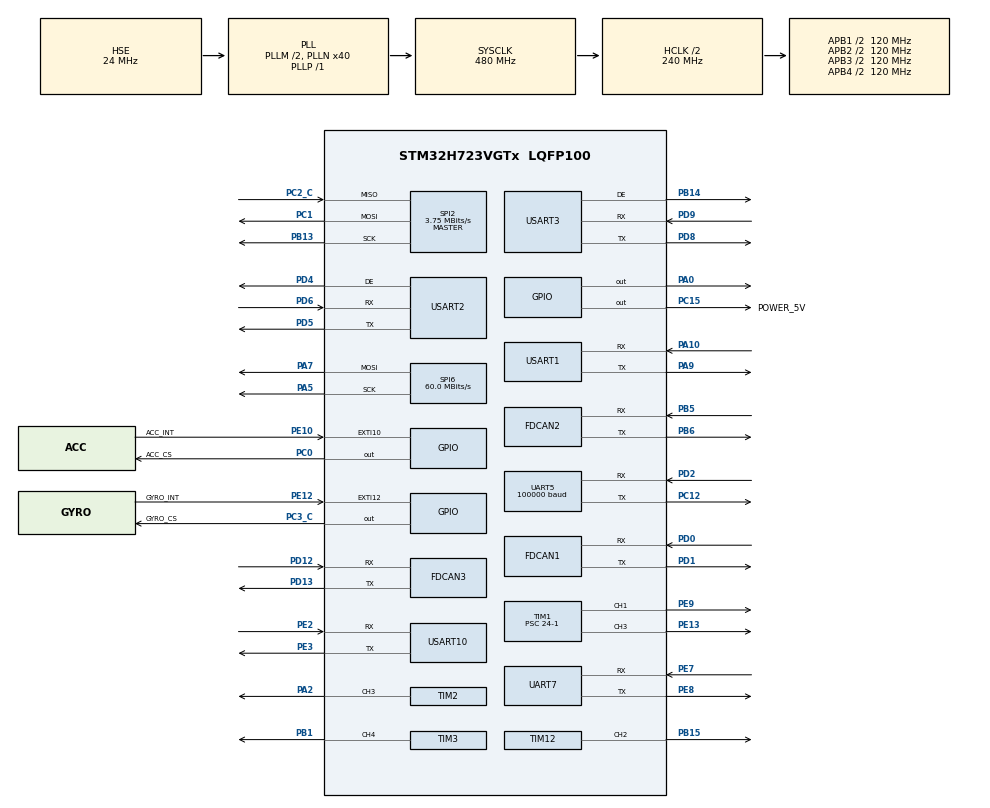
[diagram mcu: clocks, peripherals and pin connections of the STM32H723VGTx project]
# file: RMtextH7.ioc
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Dma.Request0=SPI2_RX
Dma.Request1=SPI2_TX
Dma.Request10=USART10_TX
Dma.Request11=UART5_TX
Dma.Request12=USART3_RX
Dma.Request13=USART3_TX
Dma.Request2=UART5_RX
Dma.Request3=UART7_RX
Dma.Request4=UART7_TX
Dma.Request5=USART2_RX
Dma.Request6=USART2_TX
Dma.Request7=USART1_RX
Dma.Request8=USART1_TX
Dma.Request9=USART10_RX
Dma.SPI2_RX.0.Direction=DMA_PERIPH_TO_MEMORY
Dma.SPI2_RX.0.EventEnable=DISABLE
Dma.SPI2_RX.0.FIFOMode=DMA_FIFOMODE_DISABLE
Dma.SPI2_RX.0.Instance=DMA1_Stream0
Dma.SPI2_RX.0.MemDataAlignment=DMA_MDATAALIGN_BYTE
Dma.SPI2_RX.0.MemInc=DMA_MINC_ENABLE
Dma.SPI2_RX.0.Mode=DMA_NORMAL
Dma.SPI2_RX.0.PeriphDataAlignment=DMA_PDATAALIGN_BYTE
Dma.SPI2_RX.0.PeriphInc=DMA_PINC_DISABLE
Dma.SPI2_RX.0.Polarity=HAL_DMAMUX_REQ_GEN_RISING
Dma.SPI2_RX.0.Priority=DMA_PRIORITY_VERY_HIGH
Dma.SPI2_RX.0.RequestNumber=1
Dma.SPI2_RX.0.SignalID=NONE
Dma.SPI2_RX.0.SyncEnable=DISABLE
Dma.SPI2_RX.0.SyncPolarity=HAL_DMAMUX_SYNC_NO_EVENT
Dma.SPI2_RX.0.SyncRequestNumber=1
Dma.SPI2_RX.0.SyncSignalID=NONE
Dma.SPI2_TX.1.Direction=DMA_MEMORY_TO_PERIPH
Dma.SPI2_TX.1.EventEnable=DISABLE
Dma.SPI2_TX.1.FIFOMode=DMA_FIFOMODE_DISABLE
Dma.SPI2_TX.1.Instance=DMA1_Stream2
Dma.SPI2_TX.1.MemDataAlignment=DMA_MDATAALIGN_BYTE
Dma.SPI2_TX.1.MemInc=DMA_MINC_ENABLE
Dma.SPI2_TX.1.Mode=DMA_NORMAL
Dma.SPI2_TX.1.PeriphDataAlignment=DMA_PDATAALIGN_BYTE
Dma.SPI2_TX.1.PeriphInc=DMA_PINC_DISABLE
Dma.SPI2_TX.1.Polarity=HAL_DMAMUX_REQ_GEN_RISING
Dma.SPI2_TX.1.Priority=DMA_PRIORITY_HIGH
Dma.SPI2_TX.1.RequestNumber=1
Dma.SPI2_TX.1.SignalID=NONE
Dma.SPI2_TX.1.SyncEnable=DISABLE
Dma.SPI2_TX.1.SyncPolarity=HAL_DMAMUX_SYNC_NO_EVENT
Dma.SPI2_TX.1.SyncRequestNumber=1
Dma.SPI2_TX.1.SyncSignalID=NONE
Dma.UART5_RX.2.Direction=DMA_PERIPH_TO_MEMORY
Dma.UART5_RX.2.EventEnable=DISABLE
Dma.UART5_RX.2.FIFOMode=DMA_FIFOMODE_DISABLE
Dma.UART5_RX.2.Instance=DMA1_Stream1
Dma.UART5_RX.2.MemDataAlignment=DMA_MDATAALIGN_HALFWORD
Dma.UART5_RX.2.MemInc=DMA_MINC_ENABLE
Dma.UART5_RX.2.Mode=DMA_NORMAL
Dma.UART5_RX.2.PeriphDataAlignment=DMA_PDATAALIGN_HALFWORD
Dma.UART5_RX.2.PeriphInc=DMA_PINC_DISABLE
Dma.UART5_RX.2.Polarity=HAL_DMAMUX_REQ_GEN_RISING
Dma.UART5_RX.2.Priority=DMA_PRIORITY_LOW
Dma.UART5_RX.2.RequestNumber=1
Dma.UART5_RX.2.SignalID=NONE
Dma.UART5_RX.2.SyncEnable=DISABLE
Dma.UART5_RX.2.SyncPolarity=HAL_DMAMUX_SYNC_NO_EVENT
Dma.UART5_RX.2.SyncRequestNumber=1
Dma.UART5_RX.2.SyncSignalID=NONE
Dma.UART5_TX.11.Direction=DMA_MEMORY_TO_PERIPH
Dma.UART5_TX.11.EventEnable=DISABLE
Dma.UART5_TX.11.FIFOMode=DMA_FIFOMODE_DISABLE
Dma.UART5_TX.11.Instance=DMA2_Stream3
Dma.UART5_TX.11.MemDataAlignment=DMA_MDATAALIGN_BYTE
Dma.UART5_TX.11.MemInc=DMA_MINC_ENABLE
Dma.UART5_TX.11.Mode=DMA_NORMAL
Dma.UART5_TX.11.PeriphDataAlignment=DMA_PDATAALIGN_BYTE
Dma.UART5_TX.11.PeriphInc=DMA_PINC_DISABLE
Dma.UART5_TX.11.Polarity=HAL_DMAMUX_REQ_GEN_RISING
Dma.UART5_TX.11.Priority=DMA_PRIORITY_LOW
Dma.UART5_TX.11.RequestNumber=1
Dma.UART5_TX.11.SignalID=NONE
Dma.UART5_TX.11.SyncEnable=DISABLE
Dma.UART5_TX.11.SyncPolarity=HAL_DMAMUX_SYNC_NO_EVENT
Dma.UART5_TX.11.SyncRequestNumber=1
Dma.UART5_TX.11.SyncSignalID=NONE
Dma.UART7_RX.3.Direction=DMA_PERIPH_TO_MEMORY
Dma.UART7_RX.3.EventEnable=DISABLE
Dma.UART7_RX.3.FIFOMode=DMA_FIFOMODE_DISABLE
Dma.UART7_RX.3.Instance=DMA1_Stream3
Dma.UART7_RX.3.MemDataAlignment=DMA_MDATAALIGN_BYTE
Dma.UART7_RX.3.MemInc=DMA_MINC_ENABLE
Dma.UART7_RX.3.Mode=DMA_NORMAL
Dma.UART7_RX.3.PeriphDataAlignment=DMA_PDATAALIGN_BYTE
Dma.UART7_RX.3.PeriphInc=DMA_PINC_DISABLE
Dma.UART7_RX.3.Polarity=HAL_DMAMUX_REQ_GEN_RISING
Dma.UART7_RX.3.Priority=DMA_PRIORITY_LOW
Dma.UART7_RX.3.RequestNumber=1
Dma.UART7_RX.3.SignalID=NONE
Dma.UART7_RX.3.SyncEnable=DISABLE
Dma.UART7_RX.3.SyncPolarity=HAL_DMAMUX_SYNC_NO_EVENT
Dma.UART7_RX.3.SyncRequestNumber=1
Dma.UART7_RX.3.SyncSignalID=NONE
Dma.UART7_TX.4.Direction=DMA_MEMORY_TO_PERIPH
Dma.UART7_TX.4.EventEnable=DISABLE
Dma.UART7_TX.4.FIFOMode=DMA_FIFOMODE_DISABLE
Dma.UART7_TX.4.Instance=DMA1_Stream4
Dma.UART7_TX.4.MemDataAlignment=DMA_MDATAALIGN_BYTE
Dma.UART7_TX.4.MemInc=DMA_MINC_ENABLE
Dma.UART7_TX.4.Mode=DMA_NORMAL
Dma.UART7_TX.4.PeriphDataAlignment=DMA_PDATAALIGN_BYTE
Dma.UART7_TX.4.PeriphInc=DMA_PINC_DISABLE
Dma.UART7_TX.4.Polarity=HAL_DMAMUX_REQ_GEN_RISING
Dma.UART7_TX.4.Priority=DMA_PRIORITY_LOW
Dma.UART7_TX.4.RequestNumber=1
Dma.UART7_TX.4.SignalID=NONE
Dma.UART7_TX.4.SyncEnable=DISABLE
Dma.UART7_TX.4.SyncPolarity=HAL_DMAMUX_SYNC_NO_EVENT
Dma.UART7_TX.4.SyncRequestNumber=1
Dma.UART7_TX.4.SyncSignalID=NONE
Dma.USART10_RX.9.Direction=DMA_PERIPH_TO_MEMORY
Dma.USART10_RX.9.EventEnable=DISABLE
Dma.USART10_RX.9.FIFOMode=DMA_FIFOMODE_DISABLE
Dma.USART10_RX.9.Instance=DMA2_Stream1
Dma.USART10_RX.9.MemDataAlignment=DMA_MDATAALIGN_BYTE
Dma.USART10_RX.9.MemInc=DMA_MINC_ENABLE
Dma.USART10_RX.9.Mode=DMA_NORMAL
Dma.USART10_RX.9.PeriphDataAlignment=DMA_PDATAALIGN_BYTE
Dma.USART10_RX.9.PeriphInc=DMA_PINC_DISABLE
Dma.USART10_RX.9.Polarity=HAL_DMAMUX_REQ_GEN_RISING
Dma.USART10_RX.9.Priority=DMA_PRIORITY_LOW
Dma.USART10_RX.9.RequestNumber=1
Dma.USART10_RX.9.SignalID=NONE
Dma.USART10_RX.9.SyncEnable=DISABLE
Dma.USART10_RX.9.SyncPolarity=HAL_DMAMUX_SYNC_NO_EVENT
Dma.USART10_RX.9.SyncRequestNumber=1
Dma.USART10_RX.9.SyncSignalID=NONE
Dma.USART10_TX.10.Direction=DMA_MEMORY_TO_PERIPH
Dma.USART10_TX.10.EventEnable=DISABLE
Dma.USART10_TX.10.FIFOMode=DMA_FIFOMODE_DISABLE
Dma.USART10_TX.10.Instance=DMA2_Stream2
Dma.USART10_TX.10.MemDataAlignment=DMA_MDATAALIGN_BYTE
Dma.USART10_TX.10.MemInc=DMA_MINC_ENABLE
Dma.USART10_TX.10.Mode=DMA_NORMAL
Dma.USART10_TX.10.PeriphDataAlignment=DMA_PDATAALIGN_BYTE
Dma.USART10_TX.10.PeriphInc=DMA_PINC_DISABLE
Dma.USART10_TX.10.Polarity=HAL_DMAMUX_REQ_GEN_RISING
Dma.USART10_TX.10.Priority=DMA_PRIORITY_LOW
Dma.USART10_TX.10.RequestNumber=1
Dma.USART10_TX.10.SignalID=NONE
Dma.USART10_TX.10.SyncEnable=DISABLE
Dma.USART10_TX.10.SyncPolarity=HAL_DMAMUX_SYNC_NO_EVENT
Dma.USART10_TX.10.SyncRequestNumber=1
Dma.USART10_TX.10.SyncSignalID=NONE
Dma.USART1_RX.7.Direction=DMA_PERIPH_TO_MEMORY
Dma.USART1_RX.7.EventEnable=DISABLE
Dma.USART1_RX.7.FIFOMode=DMA_FIFOMODE_DISABLE
Dma.USART1_RX.7.Instance=DMA1_Stream7
Dma.USART1_RX.7.MemDataAlignment=DMA_MDATAALIGN_BYTE
Dma.USART1_RX.7.MemInc=DMA_MINC_ENABLE
Dma.USART1_RX.7.Mode=DMA_NORMAL
Dma.USART1_RX.7.PeriphDataAlignment=DMA_PDATAALIGN_BYTE
Dma.USART1_RX.7.PeriphInc=DMA_PINC_DISABLE
Dma.USART1_RX.7.Polarity=HAL_DMAMUX_REQ_GEN_RISING
Dma.USART1_RX.7.Priority=DMA_PRIORITY_LOW
Dma.USART1_RX.7.RequestNumber=1
Dma.USART1_RX.7.SignalID=NONE
Dma.USART1_RX.7.SyncEnable=DISABLE
Dma.USART1_RX.7.SyncPolarity=HAL_DMAMUX_SYNC_NO_EVENT
Dma.USART1_RX.7.SyncRequestNumber=1
Dma.USART1_RX.7.SyncSignalID=NONE
Dma.USART1_TX.8.Direction=DMA_MEMORY_TO_PERIPH
Dma.USART1_TX.8.EventEnable=DISABLE
Dma.USART1_TX.8.FIFOMode=DMA_FIFOMODE_DISABLE
Dma.USART1_TX.8.Instance=DMA2_Stream0
Dma.USART1_TX.8.MemDataAlignment=DMA_MDATAALIGN_BYTE
Dma.USART1_TX.8.MemInc=DMA_MINC_ENABLE
Dma.USART1_TX.8.Mode=DMA_NORMAL
Dma.USART1_TX.8.PeriphDataAlignment=DMA_PDATAALIGN_BYTE
Dma.USART1_TX.8.PeriphInc=DMA_PINC_DISABLE
Dma.USART1_TX.8.Polarity=HAL_DMAMUX_REQ_GEN_RISING
Dma.USART1_TX.8.Priority=DMA_PRIORITY_LOW
Dma.USART1_TX.8.RequestNumber=1
Dma.USART1_TX.8.SignalID=NONE
Dma.USART1_TX.8.SyncEnable=DISABLE
Dma.USART1_TX.8.SyncPolarity=HAL_DMAMUX_SYNC_NO_EVENT
Dma.USART1_TX.8.SyncRequestNumber=1
Dma.USART1_TX.8.SyncSignalID=NONE
Dma.USART2_RX.5.Direction=DMA_PERIPH_TO_MEMORY
Dma.USART2_RX.5.EventEnable=DISABLE
Dma.USART2_RX.5.FIFOMode=DMA_FIFOMODE_DISABLE
Dma.USART2_RX.5.Instance=DMA1_Stream5
Dma.USART2_RX.5.MemDataAlignment=DMA_MDATAALIGN_BYTE
Dma.USART2_RX.5.MemInc=DMA_MINC_ENABLE
Dma.USART2_RX.5.Mode=DMA_NORMAL
Dma.USART2_RX.5.PeriphDataAlignment=DMA_PDATAALIGN_BYTE
Dma.USART2_RX.5.PeriphInc=DMA_PINC_DISABLE
Dma.USART2_RX.5.Polarity=HAL_DMAMUX_REQ_GEN_RISING
Dma.USART2_RX.5.Priority=DMA_PRIORITY_LOW
Dma.USART2_RX.5.RequestNumber=1
Dma.USART2_RX.5.SignalID=NONE
Dma.USART2_RX.5.SyncEnable=DISABLE
Dma.USART2_RX.5.SyncPolarity=HAL_DMAMUX_SYNC_NO_EVENT
Dma.USART2_RX.5.SyncRequestNumber=1
Dma.USART2_RX.5.SyncSignalID=NONE
Dma.USART2_TX.6.Direction=DMA_MEMORY_TO_PERIPH
Dma.USART2_TX.6.EventEnable=DISABLE
Dma.USART2_TX.6.FIFOMode=DMA_FIFOMODE_DISABLE
Dma.USART2_TX.6.Instance=DMA1_Stream6
Dma.USART2_TX.6.MemDataAlignment=DMA_MDATAALIGN_BYTE
Dma.USART2_TX.6.MemInc=DMA_MINC_ENABLE
Dma.USART2_TX.6.Mode=DMA_NORMAL
Dma.USART2_TX.6.PeriphDataAlignment=DMA_PDATAALIGN_BYTE
Dma.USART2_TX.6.PeriphInc=DMA_PINC_DISABLE
Dma.USART2_TX.6.Polarity=HAL_DMAMUX_REQ_GEN_RISING
Dma.USART2_TX.6.Priority=DMA_PRIORITY_LOW
Dma.USART2_TX.6.RequestNumber=1
Dma.USART2_TX.6.SignalID=NONE
Dma.USART2_TX.6.SyncEnable=DISABLE
Dma.USART2_TX.6.SyncPolarity=HAL_DMAMUX_SYNC_NO_EVENT
Dma.USART2_TX.6.SyncRequestNumber=1
Dma.USART2_TX.6.SyncSignalID=NONE
Dma.USART3_RX.12.Direction=DMA_PERIPH_TO_MEMORY
Dma.USART3_RX.12.EventEnable=DISABLE
Dma.USART3_RX.12.FIFOMode=DMA_FIFOMODE_DISABLE
Dma.USART3_RX.12.Instance=DMA2_Stream4
Dma.USART3_RX.12.MemDataAlignment=DMA_MDATAALIGN_BYTE
Dma.USART3_RX.12.MemInc=DMA_MINC_ENABLE
Dma.USART3_RX.12.Mode=DMA_NORMAL
Dma.USART3_RX.12.PeriphDataAlignment=DMA_PDATAALIGN_BYTE
Dma.USART3_RX.12.PeriphInc=DMA_PINC_DISABLE
Dma.USART3_RX.12.Polarity=HAL_DMAMUX_REQ_GEN_RISING
Dma.USART3_RX.12.Priority=DMA_PRIORITY_LOW
Dma.USART3_RX.12.RequestNumber=1
Dma.USART3_RX.12.SignalID=NONE
Dma.USART3_RX.12.SyncEnable=DISABLE
Dma.USART3_RX.12.SyncPolarity=HAL_DMAMUX_SYNC_NO_EVENT
Dma.USART3_RX.12.SyncRequestNumber=1
Dma.USART3_RX.12.SyncSignalID=NONE
Dma.USART3_TX.13.Direction=DMA_MEMORY_TO_PERIPH
Dma.USART3_TX.13.EventEnable=DISABLE
Dma.USART3_TX.13.FIFOMode=DMA_FIFOMODE_DISABLE
Dma.USART3_TX.13.Instance=DMA2_Stream5
Dma.USART3_TX.13.MemDataAlignment=DMA_MDATAALIGN_BYTE
Dma.USART3_TX.13.MemInc=DMA_MINC_ENABLE
Dma.USART3_TX.13.Mode=DMA_NORMAL
Dma.USART3_TX.13.PeriphDataAlignment=DMA_PDATAALIGN_BYTE
Dma.USART3_TX.13.PeriphInc=DMA_PINC_DISABLE
Dma.USART3_TX.13.Polarity=HAL_DMAMUX_REQ_GEN_RISING
Dma.USART3_TX.13.Priority=DMA_PRIORITY_LOW
Dma.USART3_TX.13.RequestNumber=1
Dma.USART3_TX.13.SignalID=NONE
Dma.USART3_TX.13.SyncEnable=DISABLE
Dma.USART3_TX.13.SyncPolarity=HAL_DMAMUX_SYNC_NO_EVENT
Dma.USART3_TX.13.SyncRequestNumber=1
Dma.USART3_TX.13.SyncSignalID=NONE
FDCAN1.CalculateBaudRateNominal=1000000
FDCAN1.CalculateTimeBitNominal=1000
FDCAN1.CalculateTimeQuantumNominal=200.0
FDCAN1.NominalPrescaler=24
FDCAN1.RxFifo0ElmtsNbr=32
FDCAN1.StdFiltersNbr=1
FDCAN1.TxFifoQueueElmtsNbr=32
FDCAN2.CalculateBaudRateNominal=1000000
FDCAN2.CalculateTimeBitNominal=1000
FDCAN2.CalculateTimeQuantumNominal=200.0
FDCAN2.MessageRAMOffset=0x406
FDCAN2.NominalPrescaler=24
FDCAN2.RxFifo0ElmtsNbr=32
FDCAN2.StdFiltersNbr=1
FDCAN2.TxFifoQueueElmtsNbr=32
FDCAN3.CalculateBaudRateNominal=1000000
FDCAN3.CalculateTimeBitNominal=1000
FDCAN3.CalculateTimeQuantumNominal=200.0
FDCAN3.MessageRAMOffset=0x812
FDCAN3.NominalPrescaler=24
FDCAN3.RxFifo0ElmtsNbr=32
FDCAN3.StdFiltersNbr=1
FDCAN3.TxFifoQueueElmtsNbr=32
FREERTOS.BinarySemaphores01=imuBinarySem01,Static,imuBinarySemControlBlock;controlBinaryIMU,Static,controlBinaryIMUControlBlock
FREERTOS.Tasks01=defaultTask,24,128,StartDefaultTask,Default,NULL,Dynamic,NULL,NULL;IMU_TempCtrl,24,128,IMU_TempCtrlTask,As weak,NULL,Static,IMU_TempCtrlBuffer,IMU_TempCtrlControlBlock;Remoter,8,256,Remoter_Task,As weak,NULL,Static,RemoterBuffer,RemoterControlBlock
Mcu.Family=STM32H7
Mcu.Name=STM32H723VGTx
Mcu.Package=LQFP100
NVIC.DMA1_Stream0_IRQn=true\:5\:0\:false\:false\:true\:true\:false\:true\:true
NVIC.DMA1_Stream1_IRQn=true\:5\:0\:false\:false\:true\:true\:false\:true\:true
NVIC.DMA1_Stream2_IRQn=true\:5\:0\:false\:false\:true\:true\:false\:true\:true
NVIC.DMA1_Stream3_IRQn=true\:5\:0\:false\:false\:true\:true\:false\:true\:true
NVIC.DMA1_Stream4_IRQn=true\:5\:0\:false\:false\:true\:true\:false\:true\:true
NVIC.DMA1_Stream5_IRQn=true\:5\:0\:false\:false\:true\:true\:false\:true\:true
NVIC.DMA1_Stream6_IRQn=true\:5\:0\:false\:false\:true\:true\:false\:true\:true
NVIC.DMA1_Stream7_IRQn=true\:5\:0\:false\:false\:true\:true\:false\:true\:true
NVIC.DMA2_Stream0_IRQn=true\:5\:0\:false\:false\:true\:true\:false\:true\:true
NVIC.DMA2_Stream1_IRQn=true\:5\:0\:false\:false\:true\:true\:false\:true\:true
NVIC.DMA2_Stream2_IRQn=true\:5\:0\:false\:false\:true\:true\:false\:true\:true
NVIC.DMA2_Stream3_IRQn=true\:5\:0\:false\:false\:true\:true\:false\:true\:true
NVIC.DMA2_Stream4_IRQn=true\:5\:0\:false\:false\:true\:true\:false\:true\:true
NVIC.DMA2_Stream5_IRQn=true\:5\:0\:false\:false\:true\:true\:false\:true\:true
NVIC.EXTI15_10_IRQn=true\:5\:0\:false\:false\:true\:true\:true\:true\:true
NVIC.FDCAN1_IT0_IRQn=true\:5\:0\:false\:false\:true\:true\:true\:true\:true
NVIC.FDCAN1_IT1_IRQn=true\:5\:0\:false\:false\:true\:true\:true\:true\:true
NVIC.FDCAN2_IT0_IRQn=true\:5\:0\:false\:false\:true\:true\:true\:true\:true
NVIC.FDCAN2_IT1_IRQn=true\:5\:0\:false\:false\:true\:true\:true\:true\:true
NVIC.FDCAN3_IT0_IRQn=true\:5\:0\:false\:false\:true\:true\:true\:true\:true
NVIC.FDCAN3_IT1_IRQn=true\:5\:0\:false\:false\:true\:true\:true\:true\:true
NVIC.PriorityGroup=NVIC_PRIORITYGROUP_4
NVIC.SPI2_IRQn=true\:5\:0\:false\:false\:true\:true\:true\:true\:true
NVIC.TIM17_IRQn=true\:15\:0\:false\:false\:true\:false\:false\:true\:true
NVIC.TimeBase=TIM17_IRQn
NVIC.TimeBaseIP=TIM17
NVIC.UART5_IRQn=true\:5\:0\:false\:false\:true\:true\:true\:true\:true
NVIC.UART7_IRQn=true\:5\:0\:false\:false\:true\:true\:true\:true\:true
NVIC.USART10_IRQn=true\:5\:0\:false\:false\:true\:true\:true\:true\:true
NVIC.USART1_IRQn=true\:5\:0\:false\:false\:true\:true\:true\:true\:true
NVIC.USART2_IRQn=true\:5\:0\:false\:false\:true\:true\:true\:true\:true
NVIC.USART3_IRQn=true\:5\:0\:false\:false\:true\:true\:true\:true\:true
PA0.Signal=GPIO_Output
PA10.Mode=Asynchronous
PA10.Signal=USART1_RX
PA13(JTMS/SWDIO).Mode=Serial_Wire
PA13(JTMS/SWDIO).Signal=DEBUG_JTMS-SWDIO
PA14(JTCK/SWCLK).Mode=Serial_Wire
PA14(JTCK/SWCLK).Signal=DEBUG_JTCK-SWCLK
PA2.Signal=S_TIM2_CH3
PA5.Mode=TX_Only_Simplex_Unidirect_Master
PA5.Signal=SPI6_SCK
PA7.Mode=TX_Only_Simplex_Unidirect_Master
PA7.Signal=SPI6_MOSI
PA9.Mode=Asynchronous
PA9.Signal=USART1_TX
PB1.Signal=S_TIM3_CH4
PB13.Mode=Full_Duplex_Master
PB13.Signal=SPI2_SCK
PB14.Mode=Hardware Flow Control (RS485)
PB14.Signal=USART3_DE
PB15.Signal=S_TIM12_CH2
PB5.Mode=FDCAN_Activate
PB5.Signal=FDCAN2_RX
PB6.Mode=FDCAN_Activate
PB6.Signal=FDCAN2_TX
PC0.GPIO_Label=ACC_CS
PC0.PinState=GPIO_PIN_SET
PC0.Signal=GPIO_Output
PC1.Mode=Full_Duplex_Master
PC1.Signal=SPI2_MOSI
PC12.Mode=Asynchronous
PC12.Signal=UART5_TX
PC15-OSC32_OUT.GPIO_Label=POWER_5V
PC15-OSC32_OUT.PinState=GPIO_PIN_SET
PC15-OSC32_OUT.Signal=GPIO_Output
PC2_C.Mode=Full_Duplex_Master
PC2_C.Signal=SPI2_MISO
PC3_C.GPIO_Label=GYRO_CS
PC3_C.PinState=GPIO_PIN_SET
PC3_C.Signal=GPIO_Output
PD0.Mode=FDCAN_Activate
PD0.Signal=FDCAN1_RX
PD1.Mode=FDCAN_Activate
PD1.Signal=FDCAN1_TX
PD12.Mode=FDCAN_Activate
PD12.Signal=FDCAN3_RX
PD13.Mode=FDCAN_Activate
PD13.Signal=FDCAN3_TX
PD2.Mode=Asynchronous
PD2.Signal=UART5_RX
PD4.Mode=Hardware Flow Control (RS485)
PD4.Signal=USART2_DE
PD5.Mode=Asynchronous
PD5.Signal=USART2_TX
PD6.Mode=Asynchronous
PD6.Signal=USART2_RX
PD8.Mode=Asynchronous
PD8.Signal=USART3_TX
PD9.Mode=Asynchronous
PD9.Signal=USART3_RX
PE10.GPIO_Label=ACC_INT
PE10.Signal=GPXTI10
PE12.GPIO_Label=GYRO_INT
PE12.Signal=GPXTI12
PE13.Signal=S_TIM1_CH3
PE2.Mode=Asynchronous
PE2.Signal=USART10_RX
PE3.Mode=Asynchronous
PE3.Signal=USART10_TX
PE7.Mode=Asynchronous
PE7.Signal=UART7_RX
PE8.Mode=Asynchronous
PE8.Signal=UART7_TX
PE9.Signal=S_TIM1_CH1
PH0-OSC_IN.Mode=HSE-External-Oscillator
PH0-OSC_IN.Signal=RCC_OSC_IN
PH1-OSC_OUT.Mode=HSE-External-Oscillator
PH1-OSC_OUT.Signal=RCC_OSC_OUT
ProjectManager.HeapSize=0x200
ProjectManager.StackSize=0x400
ProjectManager.TargetToolchain=CMake
RCC.ADCFreq_Value=48375000
RCC.APB1Freq_Value=120000000
RCC.APB2Freq_Value=120000000
RCC.APB3Freq_Value=120000000
RCC.APB4Freq_Value=120000000
RCC.CortexFreq_Value=480000000
RCC.D1PPRE=RCC_APB3_DIV2
RCC.D2PPRE1=RCC_APB1_DIV2
RCC.D2PPRE2=RCC_APB2_DIV2
RCC.D3PPRE=RCC_APB4_DIV2
RCC.DIVM1=2
RCC.DIVN1=40
RCC.DIVP1=1
RCC.DIVQ1=4
RCC.HCLKFreq_Value=240000000
RCC.HPRE=RCC_HCLK_DIV2
RCC.HSE_VALUE=24000000
RCC.PLLFRACN=0
RCC.PLLSourceVirtual=RCC_PLLSOURCE_HSE
RCC.SYSCLKFreq_VALUE=480000000
RCC.SYSCLKSource=RCC_SYSCLKSOURCE_PLLCLK
RCC.USBFreq_Value=120000000
SH.S_TIM12_CH2.0=TIM12_CH2,PWM Generation2 CH2
SH.S_TIM1_CH1.0=TIM1_CH1,PWM Generation1 CH1
SH.S_TIM1_CH3.0=TIM1_CH3,PWM Generation3 CH3
SH.S_TIM2_CH3.0=TIM2_CH3,PWM Generation3 CH3
SH.S_TIM3_CH4.0=TIM3_CH4,PWM Generation4 CH4
SPI2.BaudRatePrescaler=SPI_BAUDRATEPRESCALER_32
SPI2.CLKPhase=SPI_PHASE_2EDGE
SPI2.CLKPolarity=SPI_POLARITY_HIGH
SPI2.CalculateBaudRate=3.75 MBits/s
SPI2.DataSize=SPI_DATASIZE_8BIT
SPI2.Direction=SPI_DIRECTION_2LINES
SPI2.Mode=SPI_MODE_MASTER
SPI2.VirtualType=VM_MASTER
SPI6.CLKPhase=SPI_PHASE_2EDGE
SPI6.CalculateBaudRate=60.0 MBits/s
SPI6.DataSize=SPI_DATASIZE_8BIT
SPI6.Direction=SPI_DIRECTION_2LINES_TXONLY
SPI6.Mode=SPI_MODE_MASTER
SPI6.VirtualType=VM_MASTER
TIM1.Channel-PWM\ Generation1\ CH1=TIM_CHANNEL_1
TIM1.Channel-PWM\ Generation3\ CH3=TIM_CHANNEL_3
TIM1.Period=20000-1
TIM1.Prescaler=24-1
TIM12.Channel-PWM\ Generation2\ CH2=TIM_CHANNEL_2
TIM12.Prescaler=240-1
TIM2.Channel-PWM\ Generation3\ CH3=TIM_CHANNEL_3
TIM2.Period=20000-1
TIM2.Prescaler=24-1
TIM2.Pulse-PWM\ Generation3\ CH3=1000
TIM3.Channel-PWM\ Generation4\ CH4=TIM_CHANNEL_4
TIM3.Period=10000-1
TIM3.Prescaler=24-1
UART5.BaudRate=100000
UART5.Parity=PARITY_EVEN
UART5.WordLength=WORDLENGTH_9B
USART1.VirtualMode-Asynchronous=VM_ASYNC
USART10.VirtualMode=VM_ASYNC
USART2.OverSampling=UART_OVERSAMPLING_8
USART2.VirtualMode-Asynchronous=VM_ASYNC
USART2.VirtualMode-Hardware\ Flow\ Control\ (RS485)=VM_ASYNC
USART3.OverSampling=UART_OVERSAMPLING_8
USART3.VirtualMode-Asynchronous=VM_ASYNC
USART3.VirtualMode-Hardware\ Flow\ Control\ (RS485)=VM_ASYNC
VP_CRC_VS_CRC.Mode=CRC_Activate
VP_FREERTOS_VS_CMSIS_V2.Mode=CMSIS_V2
VP_SYS_VS_tim17.Mode=TIM17
VP_TIM1_VS_ClockSourceINT.Mode=Internal
board=custom

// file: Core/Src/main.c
/* USER CODE BEGIN Header */
/**
 ******************************************************************************
 * @file           : main.c
 * @brief          : Main program body
 ******************************************************************************
 * @attention
 *
 * Copyright (c) 2024 STMicroelectronics.
 * All rights reserved.
 *
 * This software is licensed under terms that can be found in the LICENSE file
 * in the root directory of this software component.
 * If no LICENSE file comes with this software, it is provided AS-IS.
 *
 ******************************************************************************
 */
/* USER CODE END Header */
#include "main.h"
#include "cmsis_os.h"
#include "crc.h"
#include "dma.h"
#include "fdcan.h"
#include "spi.h"
#include "tim.h"
#include "usart.h"
#include "gpio.h"

/* USER CODE BEGIN Includes */
#include "bsp.h"
#include "DBusSys.h"

#include "usart.h"

/* USER CODE END Includes */

void SystemClock_Config(void);
void MX_FREERTOS_Init(void);

int main(void)
{

  /* MCU Configuration--------------------------------------------------------*/

  /* Reset of all peripherals, Initializes the Flash interface and the Systick. */
  HAL_Init();

  /* Configure the system clock */
  SystemClock_Config();

  /* Initialize all configured peripherals */
  MX_GPIO_Init();
  MX_DMA_Init();
  MX_UART5_Init();
  MX_FDCAN1_Init();
  MX_FDCAN2_Init();
  MX_FDCAN3_Init();
  MX_SPI2_Init();
  MX_TIM3_Init();
  MX_UART7_Init();
  MX_CRC_Init();
  MX_SPI6_Init();
  MX_TIM2_Init();
  MX_USART2_UART_Init();
  MX_USART3_UART_Init();
  MX_USART1_UART_Init();
  MX_USART10_UART_Init();
  MX_TIM12_Init();
  MX_TIM1_Init();
  /* USER CODE BEGIN 2 */
  can_sys_init();

  /* USER CODE END 2 */

  /* Init scheduler */
  osKernelInitialize();

  /* Call init function for freertos objects (in cmsis_os2.c) */
  MX_FREERTOS_Init();

  /* Start scheduler */
  osKernelStart();

  /* We should never get here as control is now taken by the scheduler */

  /* Infinite loop */
  while (1)
  {

  }
}

void SystemClock_Config(void)
{
  RCC_OscInitTypeDef RCC_OscInitStruct = {0};
  RCC_ClkInitTypeDef RCC_ClkInitStruct = {0};

  /** Supply configuration update enable
  */
  HAL_PWREx_ConfigSupply(PWR_LDO_SUPPLY);

  /** Configure the main internal regulator output voltage
  */
  __HAL_PWR_VOLTAGESCALING_CONFIG(PWR_REGULATOR_VOLTAGE_SCALE0);

  while(!__HAL_PWR_GET_FLAG(PWR_FLAG_VOSRDY)) {}

  /** Initializes the RCC Oscillators according to the specified parameters
  * in the RCC_OscInitTypeDef structure.
  */
  RCC_OscInitStruct.OscillatorType = RCC_OSCILLATORTYPE_HSE;
  RCC_OscInitStruct.HSEState = RCC_HSE_ON;
  RCC_OscInitStruct.PLL.PLLState = RCC_PLL_ON;
  RCC_OscInitStruct.PLL.PLLSource = RCC_PLLSOURCE_HSE;
  RCC_OscInitStruct.PLL.PLLM = 2;
  RCC_OscInitStruct.PLL.PLLN = 40;
  RCC_OscInitStruct.PLL.PLLP = 1;
  RCC_OscInitStruct.PLL.PLLQ = 4;
  RCC_OscInitStruct.PLL.PLLR = 2;
  RCC_OscInitStruct.PLL.PLLRGE = RCC_PLL1VCIRANGE_3;
  RCC_OscInitStruct.PLL.PLLVCOSEL = RCC_PLL1VCOWIDE;
  RCC_OscInitStruct.PLL.PLLFRACN = 0;
  if (HAL_RCC_OscConfig(&RCC_OscInitStruct) != HAL_OK)
  {
    Error_Handler();
  }

  /** Initializes the CPU, AHB and APB buses clocks
  */
  RCC_ClkInitStruct.ClockType = RCC_CLOCKTYPE_HCLK|RCC_CLOCKTYPE_SYSCLK
                              |RCC_CLOCKTYPE_PCLK1|RCC_CLOCKTYPE_PCLK2
                              |RCC_CLOCKTYPE_D3PCLK1|RCC_CLOCKTYPE_D1PCLK1;
  RCC_ClkInitStruct.SYSCLKSource = RCC_SYSCLKSOURCE_PLLCLK;
  RCC_ClkInitStruct.SYSCLKDivider = RCC_SYSCLK_DIV1;
  RCC_ClkInitStruct.AHBCLKDivider = RCC_HCLK_DIV2;
  RCC_ClkInitStruct.APB3CLKDivider = RCC_APB3_DIV2;
  RCC_ClkInitStruct.APB1CLKDivider = RCC_APB1_DIV2;
  RCC_ClkInitStruct.APB2CLKDivider = RCC_APB2_DIV2;
  RCC_ClkInitStruct.APB4CLKDivider = RCC_APB4_DIV2;

  if (HAL_RCC_ClockConfig(&RCC_ClkInitStruct, FLASH_LATENCY_3) != HAL_OK)
  {
    Error_Handler();
  }
}

void HAL_TIM_PeriodElapsedCallback(TIM_HandleTypeDef *htim)
{
  if (htim->Instance == TIM17) {
    HAL_IncTick();
  }
}

void Error_Handler(void)
{
  __disable_irq();
  while (1)
  {
  }
}

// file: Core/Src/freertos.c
/* USER CODE BEGIN Header */
/**
 ******************************************************************************
 * File Name          : freertos.c
 * Description        : Code for freertos applications
 ******************************************************************************
 * @attention
 *
 * Copyright (c) 2024 STMicroelectronics.
 * All rights reserved.
 *
 * This software is licensed under terms that can be found in the LICENSE file
 * in the root directory of this software component.
 * If no LICENSE file comes with this software, it is provided AS-IS.
 *
 ******************************************************************************
 */
/* USER CODE END Header */

#include "FreeRTOS.h"
#include "cmsis_os2.h"
#include "task.h"
#include "main.h"
#include "cmsis_os.h"
#include <string.h>

/* USER CODE BEGIN Includes */

// #include "DBusSys.h"
// #include "dma.h"
// #include "usart.h"
// #include "PIDtool.h"

/* USER CODE END Includes */

typedef StaticTask_t osStaticThreadDef_t;
typedef StaticSemaphore_t osStaticSemaphoreDef_t;

/* Definitions for defaultTask */
osThreadId_t defaultTaskHandle;
const osThreadAttr_t defaultTask_attributes = {
  .name = "defaultTask",
  .stack_size = 128 * 4,
  .priority = (osPriority_t) osPriorityNormal,
};
/* Definitions for IMU_TempCtrl */
osThreadId_t IMU_TempCtrlHandle;
uint32_t IMU_TempCtrlBuffer[ 128 ];
osStaticThreadDef_t IMU_TempCtrlControlBlock;
const osThreadAttr_t IMU_TempCtrl_attributes = {
  .name = "IMU_TempCtrl",
  .cb_mem = &IMU_TempCtrlControlBlock,
  .cb_size = sizeof(IMU_TempCtrlControlBlock),
  .stack_mem = &IMU_TempCtrlBuffer[0],
  .stack_size = sizeof(IMU_TempCtrlBuffer),
  .priority = (osPriority_t) osPriorityNormal,
};
/* Definitions for Remoter */
osThreadId_t RemoterHandle;
uint32_t RemoterBuffer[ 256 ];
osStaticThreadDef_t RemoterControlBlock;
const osThreadAttr_t Remoter_attributes = {
  .name = "Remoter",
  .cb_mem = &RemoterControlBlock,
  .cb_size = sizeof(RemoterControlBlock),
  .stack_mem = &RemoterBuffer[0],
  .stack_size = sizeof(RemoterBuffer),
  .priority = (osPriority_t) osPriorityLow,
};
/* Definitions for uartTest */
osThreadId_t uartTestHandle;
uint32_t uartTestBuffer[512];
osStaticThreadDef_t uartTestControlBlock;
const osThreadAttr_t uartTest_attributes = {
    .name       = "uartTest",
    .cb_mem     = &uartTestControlBlock,
    .cb_size    = sizeof(uartTestControlBlock),
    .stack_mem  = &uartTestBuffer[0],
    .stack_size = sizeof(uartTestBuffer),
    .priority   = (osPriority_t)osPriorityNormal,
};
/* Definitions for SerialPlot */
osThreadId_t SerialPlotHandle;
uint32_t SerialPlotBuffer[512];
osStaticThreadDef_t SerialPlotControlBlock;
const osThreadAttr_t SerialPlot_attributes = {
    .name       = "SerialPlot",
    .cb_mem     = &SerialPlotControlBlock,
    .cb_size    = sizeof(SerialPlotControlBlock),
    .stack_mem  = &SerialPlotBuffer[0],
    .stack_size = sizeof(SerialPlotBuffer),
    .priority   = (osPriority_t)osPriorityNormal,
};
/* Definitions for motor_test */
osThreadId_t motorTestHandle;
uint32_t motorTestBuffer[512];
osStaticThreadDef_t motorTestControlBlock;

const osThreadAttr_t motorTest_attributes = {
    .name       = "motorTest",
    .cb_mem     = &motorTestControlBlock,
    .cb_size    = sizeof(motorTestControlBlock),
    .stack_mem  = &motorTestBuffer[0],
    .stack_size = sizeof(motorTestBuffer),
    .priority   = (osPriority_t)osPriorityNormal,
};

/* Definitions for jointFollowAngle */

osThreadId_t jointFollowAngleHandle;
uint32_t jointFollowAngleBuffer[512];
osStaticThreadDef_t jointFollowAngleControlBlock;

const osThreadAttr_t jointFollowAngle_attributes = {
    .name       = "jointFollowAngle",
    .cb_mem     = &jointFollowAngleControlBlock,
    .cb_size    = sizeof(jointFollowAngleControlBlock),
    .stack_mem  = &jointFollowAngleBuffer[0],
    .stack_size = sizeof(jointFollowAngleBuffer),
    .priority   = (osPriority_t)osPriorityNormal,
};

 /* Definitions for Arm_State_Machine_Task */
 osThreadId_t Arm_State_Machine_TaskHandle;
 uint32_t Arm_State_Machine_TaskBuffer[512];
 osStaticThreadDef_t Arm_State_Machine_TaskControlBlock;
 const osThreadAttr_t Arm_State_Machine_Task_attributes = {
     .name = "Arm_State_Machine_Task",
     .cb_mem = &Arm_State_Machine_TaskControlBlock,
     .cb_size = sizeof(Arm_State_Machine_TaskControlBlock),
     .stack_mem = &Arm_State_Machine_TaskBuffer[0],
     .stack_size = sizeof(Arm_State_Machine_TaskBuffer),
     .priority = (osPriority_t) osPriorityNormal,
 };
 /* Definitions for SerialPort */
 osThreadId_t SerialPortHandle;
 uint32_t SerialPortBuffer[256];
 osStaticThreadDef_t SerialPortControlBlock;
 const osThreadAttr_t SerialPort_attributes = {
     .name = "SerialPort",
     .cb_mem = &SerialPortControlBlock,
     .cb_size = sizeof(SerialPortControlBlock),
     .stack_mem = &SerialPortBuffer[0],
     .stack_size = sizeof(SerialPortBuffer),
     .priority = (osPriority_t) osPriorityNormal,
 };
uint32_t Chassis_TaskBuffer[512];  // 栈大小：128 * 4字节 = 512字节
osStaticThreadDef_t Chassis_TaskControlBlock;  // 静态任务控制块
osThreadId_t Chassis_TaskHandle;  // 任务句柄
const osThreadAttr_t Chassis_Task_attributes = {
  .name = "Chassis_Task",        // 任务名称（调试用）
  .cb_mem = &Chassis_TaskControlBlock,  // 控制块地址（静态创建）
  .cb_size = sizeof(Chassis_TaskControlBlock),  // 控制块大小
  .stack_mem = &Chassis_TaskBuffer[0],  // 栈空间地址
  .stack_size = sizeof(Chassis_TaskBuffer),  // 栈大小
  .priority = (osPriority_t)osPriorityNormal,  // 优先级（与默认任务相同）
};

uint32_t Referee_TaskBuffer[1024];  // 栈大小：1024 * 4字节 = 4096字节
osStaticThreadDef_t Referee_TaskControlBlock;  // 静态任务控制块
osThreadId_t Referee_TaskHandle;  // 任务句柄
const osThreadAttr_t Referee_Task_attributes = {
  .name = "Referee_Task",        // 任务名称（调试用）
  .cb_mem = &Referee_TaskControlBlock,  // 控制块地址（静态创建）
  .cb_size = sizeof(Referee_TaskControlBlock),  // 控制块大小
  .stack_mem = &Referee_TaskBuffer[0],  // 栈空间地址
  .stack_size = sizeof(Referee_TaskBuffer),  // 栈大小
  .priority = (osPriority_t)osPriorityNormal,  // 优先级（与默认任务相同）
};

uint32_t Watchdog_TaskBuffer[512];
osStaticThreadDef_t Watchdog_TaskControlBlock;
osThreadId_t Watchdog_TaskHandle;
const osThreadAttr_t Watchdog_Task_attributes = {
  .name = "Watchdog_Task",
  .cb_mem = &Watchdog_TaskControlBlock,
  .cb_size = sizeof(Watchdog_TaskControlBlock),
  .stack_mem = &Watchdog_TaskBuffer[0],
  .stack_size = sizeof(Watchdog_TaskBuffer),
  .priority = (osPriority_t)osPriorityLow,
};

uint32_t IMU_TaskBuffer[512];
osStaticThreadDef_t IMU_TaskControlBlock;
osThreadId_t IMU_TaskHandle;
const osThreadAttr_t IMU_Task_attributes = {
  .name = "IMU_Task",
  .cb_mem = &IMU_TaskControlBlock,
  .cb_size = sizeof(IMU_TaskControlBlock),
  .stack_mem = &IMU_TaskBuffer[0],
  .stack_size = sizeof(IMU_TaskBuffer),
  .priority = (osPriority_t)osPriorityLow,
};

/* Definitions for uart_Transmit_Angle */
osThreadId_t uart_Transmit_AngleHandle;
uint32_t uart_Transmit_AngleBuffer[1024];
osStaticThreadDef_t uart_Transmit_AngleControlBlock;
const osThreadAttr_t uart_Transmit_Angle_attributes = {
    .name       = "uart_Transmit_Angle",
    .cb_mem     = &uart_Transmit_AngleControlBlock,
    .cb_size    = sizeof(uart_Transmit_AngleControlBlock),
    .stack_mem  = &uart_Transmit_AngleBuffer[0],
    .stack_size = sizeof(uart_Transmit_AngleBuffer),
    .priority   = (osPriority_t)osPriorityNormal,
};
/* Definitions for imuBinarySem01 */
osSemaphoreId_t imuBinarySem01Handle;
osStaticSemaphoreDef_t imuBinarySemControlBlock;
const osSemaphoreAttr_t imuBinarySem01_attributes = {
  .name = "imuBinarySem01",
  .cb_mem = &imuBinarySemControlBlock,
  .cb_size = sizeof(imuBinarySemControlBlock),
};
/* Definitions for controlBinaryIMU */
osSemaphoreId_t controlBinaryIMUHandle;
osStaticSemaphoreDef_t controlBinaryIMUControlBlock;
const osSemaphoreAttr_t controlBinaryIMU_attributes = {
  .name = "controlBinaryIMU",
  .cb_mem = &controlBinaryIMUControlBlock,
  .cb_size = sizeof(controlBinaryIMUControlBlock),
};

 /* Definitions for Trajectory_Publisher */
 osThreadId_t Trajectory_PublisherHandle;
 uint32_t Trajectory_PublisherBuffer[256];
 osStaticThreadDef_t Trajectory_PublisherControlBlock;
 const osThreadAttr_t Trajectory_Publisher_attributes = {
     .name = "Trajectory_Publisher",
     .cb_mem = &Trajectory_PublisherControlBlock,
     .cb_size = sizeof(Trajectory_PublisherControlBlock),
     .stack_mem = &Trajectory_PublisherBuffer[0],
     .stack_size = sizeof(Trajectory_PublisherBuffer),
     .priority = (osPriority_t) osPriorityNormal,
 };
//  /* Definitions for test_CAN3_ARM */
//  osThreadId_t test_CAN3_ARMHandle;
//  uint32_t test_CAN3_ARMBuffer[256];
//  osStaticThreadDef_t test_CAN3_ARMControlBlock;
//  const osThreadAttr_t test_CAN3_ARM_attributes = {
//      .name = "test_CAN3_ARM",
//      .cb_mem = &test_CAN3_ARMControlBlock,
//      .cb_size = sizeof(test_CAN3_ARMControlBlock),
//      .stack_mem = &test_CAN3_ARMBuffer[0],
//      .stack_size = sizeof(test_CAN3_ARMBuffer),
//      .priority = (osPriority_t) osPriorityNormal,
//  };

 /* Definitions for Joint1_Move_Task */
 osThreadId_t Joint1_Move_TaskHandle;
 uint32_t Joint1_Move_TaskBuffer[128];
 osStaticThreadDef_t Joint1_Move_TaskControlBlock;
 const osThreadAttr_t Joint1_Move_Task_attributes = {
     .name = "Joint1_Move_Task",
     .cb_mem = &Joint1_Move_TaskControlBlock,
     .cb_size = sizeof(Joint1_Move_TaskControlBlock),
     .stack_mem = &Joint1_Move_TaskBuffer[0],
     .stack_size = sizeof(Joint1_Move_TaskBuffer),
     .priority = (osPriority_t) osPriorityNormal,
 };
 /* Definitions for Joint2_Move_Task  */
 osThreadId_t Joint2_Move_TaskHandle;
 uint32_t Joint2_Move_TaskBuffer[128];
 osStaticThreadDef_t Joint2_Move_TaskControlBlock;
 const osThreadAttr_t Joint2_Move_Task_attributes = {
     .name = "Joint2_Move_Task ",
     .cb_mem = &Joint2_Move_TaskControlBlock,
     .cb_size = sizeof(Joint2_Move_TaskControlBlock),
     .stack_mem = &Joint2_Move_TaskBuffer[0],
     .stack_size = sizeof(Joint2_Move_TaskBuffer),
     .priority = (osPriority_t) osPriorityNormal,
 };
 /* Definitions for Joint3_Move_Task */
 osThreadId_t Joint3_Move_TaskHandle;
 uint32_t Joint3_Move_TaskBuffer[128];
 osStaticThreadDef_t Joint3_Move_TaskControlBlock;
 const osThreadAttr_t Joint3_Move_Task_attributes = {
     .name = "Joint3_Move_Task",
     .cb_mem = &Joint3_Move_TaskControlBlock,
     .cb_size = sizeof(Joint3_Move_TaskControlBlock),
     .stack_mem = &Joint3_Move_TaskBuffer[0],
     .stack_size = sizeof(Joint3_Move_TaskBuffer),
     .priority = (osPriority_t) osPriorityNormal,
 };
 /* Definitions for Joint4_Move_Task */
 osThreadId_t Joint4_Move_TaskHandle;
 uint32_t Joint4_Move_TaskBuffer[128];
 osStaticThreadDef_t Joint4_Move_TaskControlBlock;
 const osThreadAttr_t Joint4_Move_Task_attributes = {
     .name = "Joint4_Move_Task",
     .cb_mem = &Joint4_Move_TaskControlBlock,
     .cb_size = sizeof(Joint4_Move_TaskControlBlock),
     .stack_mem = &Joint4_Move_TaskBuffer[0],
     .stack_size = sizeof(Joint4_Move_TaskBuffer),
     .priority = (osPriority_t) osPriorityNormal,
 };
 /* Definitions for Joint5_Move_Task */
 osThreadId_t Joint5_Move_TaskHandle;
 uint32_t Joint5_Move_TaskBuffer[128];
 osStaticThreadDef_t Joint5_Move_TaskControlBlock;
 const osThreadAttr_t Joint5_Move_Task_attributes = {
     .name = "Joint5_Move_Task",
     .cb_mem = &Joint5_Move_TaskControlBlock,
     .cb_size = sizeof(Joint5_Move_TaskControlBlock),
     .stack_mem = &Joint5_Move_TaskBuffer[0],
     .stack_size = sizeof(Joint5_Move_TaskBuffer),
     .priority = (osPriority_t) osPriorityAboveNormal,
 };
 /* Definitions for Joint6_Move_Task */
 osThreadId_t Joint6_Move_TaskHandle;
 uint32_t Joint6_Move_TaskBuffer[128];
 osStaticThreadDef_t Joint6_Move_TaskControlBlock;
 const osThreadAttr_t Joint6_Move_Task_attributes = {
     .name = "Joint6_Move_Task",
     .cb_mem = &Joint6_Move_TaskControlBlock,
     .cb_size = sizeof(Joint6_Move_TaskControlBlock),
     .stack_mem = &Joint6_Move_TaskBuffer[0],
     .stack_size = sizeof(Joint6_Move_TaskBuffer),
     .priority = (osPriority_t) osPriorityAboveNormal,
 };

 /* Definitions for View_Gimbal_Task */
 osThreadId_t View_Gimbal_TaskHandle;
 uint32_t View_Gimbal_TaskBuffer[128];
 osStaticThreadDef_t View_Gimbal_TaskControlBlock;
 const osThreadAttr_t View_Gimbal_Task_attributes = {
     .name = "View_Gimbal_Task",
     .cb_mem = &View_Gimbal_TaskControlBlock,
     .cb_size = sizeof(View_Gimbal_TaskControlBlock),
     .stack_mem = &View_Gimbal_TaskBuffer[0],
     .stack_size = sizeof(View_Gimbal_TaskBuffer),
     .priority = (osPriority_t) osPriorityNormal,
 };
/* USER CODE BEGIN FunctionPrototypes */
void uart_test(void *argument);
void motor_test(void *arguments);
void jointFollowAngle(void *arguments);
void uart_Transmit_Angle(void *arguments);
void Chassis_Task(void *arguments);
void Referee_Task(void *arguments);
void Watchdog_Task(void *arguments);
void SerialPlot(void *argument);
void IMU_Task(void *argument);
// void test_CAN3_ARM(void *argument);
void Joint1_Move_Task(void *argument);
void Joint2_Move_Task(void *argument);
void Joint3_Move_Task(void *argument);
void Joint4_Move_Task(void *argument);
void Joint5_Move_Task(void *argument);
void Joint6_Move_Task(void *argument);
/* USER CODE END FunctionPrototypes */

/* USER CODE END FunctionPrototypes */
void View_Gimbal_Task(void *argument);
void Trajectory_Timer_Init(void);
void StartDefaultTask(void *argument);
void IMU_TempCtrlTask(void *argument);
void Remoter_Task(void *argument);
void Trajectory_Publisher_Task(void *argument) ;

void MX_FREERTOS_Init(void); /* (MISRA C 2004 rule 8.1) */

void MX_FREERTOS_Init(void) {
  /* USER CODE BEGIN Init */
  Trajectory_Timer_Init();
  /* USER CODE END Init */

  /* Create the semaphores(s) */
  /* creation of imuBinarySem01 */
  imuBinarySem01Handle = osSemaphoreNew(1, 0, &imuBinarySem01_attributes);

  /* creation of controlBinaryIMU */
  controlBinaryIMUHandle = osSemaphoreNew(1, 0, &controlBinaryIMU_attributes);

  /* Create the thread(s) */
  /* creation of defaultTask */
  defaultTaskHandle = osThreadNew(StartDefaultTask, NULL, &defaultTask_attributes);

  /* creation of IMU_TempCtrl */
  IMU_TempCtrlHandle = osThreadNew(IMU_TempCtrlTask, NULL, &IMU_TempCtrl_attributes);

  /* creation of Remoter */
  RemoterHandle = osThreadNew(Remoter_Task, NULL, &Remoter_attributes);

  // uartTestHandle = osThreadNew(uart_test, NULL, &uartTest_attributes);
  // motorTestHandle = osThreadNew(motor_test, NULL,&motorTest_attributes);
  jointFollowAngleHandle = osThreadNew(jointFollowAngle,NULL, &jointFollowAngle_attributes);

  // Joint1_Move_TaskHandle = osThreadNew(Joint1_Move_Task, NULL, &Joint1_Move_Task_attributes);
  // Joint2_Move_TaskHandle = osThreadNew(Joint2_Move_Task, NULL, &Joint2_Move_Task_attributes);
  // Joint3_Move_TaskHandle = osThreadNew(Joint3_Move_Task, NULL, &Joint3_Move_Task_attributes);
  // Joint4_Move_TaskHandle = osThreadNew(Joint4_Move_Task, NULL, &Joint4_Move_Task_attributes);
  // Joint5_Move_TaskHandle = osThreadNew(Joint5_Move_Task, NULL, &Joint5_Move_Task_attributes);
  // Joint6_Move_TaskHandle = osThreadNew(Joint6_Move_Task, NULL, &Joint6_Move_Task_attributes);
  //uart_Transmit_AngleHandle = osThreadNew(uart_Transmit_Angle, NULL, &uart_Transmit_Angle_attributes);
  Chassis_TaskHandle = osThreadNew(Chassis_Task, NULL, &Chassis_Task_attributes);
  // SerialPortHandle = osThreadNew(SerialPlot, NULL, &SerialPort_attributes);
  Referee_TaskHandle = osThreadNew(Referee_Task, NULL, &Referee_Task_attributes);
  IMU_TaskHandle = osThreadNew(IMU_Task, NULL, &IMU_Task_attributes);
  Trajectory_PublisherHandle = osThreadNew(Trajectory_Publisher_Task, NULL, &Trajectory_Publisher_attributes);
  View_Gimbal_TaskHandle = osThreadNew(View_Gimbal_Task, NULL, &View_Gimbal_Task_attributes);
  // SerialPlotHandle = osThreadNew(SerialPlot, NULL, &SerialPlot_attributes);
  /* USER CODE BEGIN RTOS_THREADS */
  /* add threads, ... */
  Watchdog_TaskHandle = osThreadNew(Watchdog_Task, NULL, &Watchdog_Task_attributes);
  /* USER CODE END RTOS_THREADS */

}

void StartDefaultTask(void *argument)
{
  /* USER CODE BEGIN StartDefaultTask */
  UNUSED(argument);
  /* Infinite loop */
  for (;;)
  {
    osDelay(1);
  }
  /* USER CODE END StartDefaultTask */
}

__weak void IMU_TempCtrlTask(void *argument)
{
  /* USER CODE BEGIN IMU_TempCtrlTask */
  UNUSED(argument);
  /* Infinite loop */
  for(;;)
  {
    osDelay(1);
  }
  /* USER CODE END IMU_TempCtrlTask */
}

__weak void Remoter_Task(void *argument)
{
  /* USER CODE BEGIN Remoter_Task */
  UNUSED(argument);
  /* Infinite loop */
  for(;;)
  {
    osDelay(1);
  }
  /* USER CODE END Remoter_Task */
}

/* USER CODE BEGIN Application */

__weak void uart_test(void *argument)
{
  UNUSED(argument);
  for (;;) {
    osDelay(1);
  }
}
__weak void motor_test(void *argument)
{
  UNUSED(argument);
  for (;;) {
    osDelay(1);
  }
}
__weak void jointFollowAngle(void *argument)
{
  UNUSED(argument);
  for (;;) {
    osDelay(1);
  }
}
__weak void uart_Transmit_Angle(void *argument)
{
  UNUSED(argument);
  for (;;) {
    osDelay(1);
  }
}

__weak void Chassis_Task(void *argument)
{
  /* USER CODE Chassis_Task */
  UNUSED(argument);
  /* Infinite loop */
  for(;;)
  {

    osDelay(2);
  }
  /* USER CODE END Chassis_Task */
}

__weak void Referee_Task(void *argument)
{
  UNUSED(argument);
  for(;;)
  {

    osDelay(1);
  }
}

__weak void SerialPort(void *argument)
{
  UNUSED(argument);
  for(;;)
  {

    osDelay(1);
  }
}

__weak void Trajectory_Publisher_Task (void *argument){
  UNUSED(argument);
  for(;;){
    osDelay(1);
  }
}

__weak void IMU_Task(void *argument)
{
  UNUSED(argument);
  for(;;){
    osDelay(1);
  }
}
/* USER CODE END Application */

__weak void SerialPlot(void *argument)
{
  UNUSED(argument);
  for(;;)
  {

    osDelay(1);
  }
}
